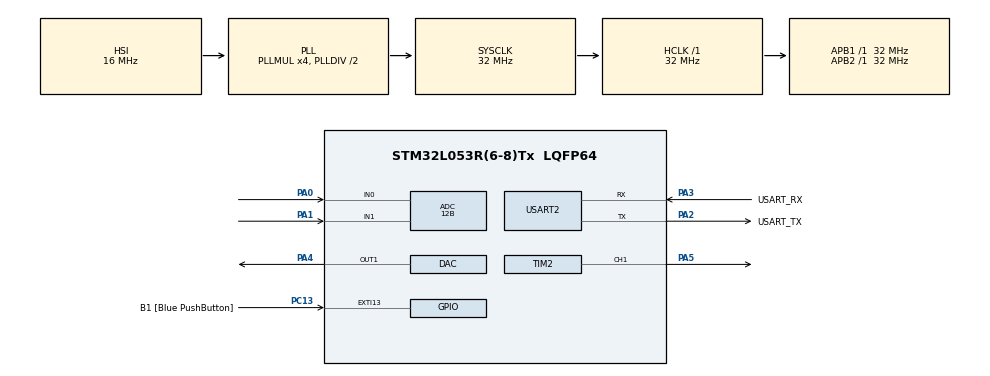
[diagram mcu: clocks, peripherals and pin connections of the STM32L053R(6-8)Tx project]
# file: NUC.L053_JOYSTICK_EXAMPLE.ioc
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ADC.ContinuousConvMode=ENABLE
ADC.Resolution=ADC_RESOLUTION_12B
ADC.SamplingTime=ADC_SAMPLETIME_160CYCLES_5
Dma.ADC.0.Direction=DMA_PERIPH_TO_MEMORY
Dma.ADC.0.Instance=DMA1_Channel1
Dma.ADC.0.MemDataAlignment=DMA_MDATAALIGN_WORD
Dma.ADC.0.MemInc=DMA_MINC_ENABLE
Dma.ADC.0.Mode=DMA_CIRCULAR
Dma.ADC.0.PeriphDataAlignment=DMA_PDATAALIGN_WORD
Dma.ADC.0.PeriphInc=DMA_PINC_DISABLE
Dma.ADC.0.Priority=DMA_PRIORITY_LOW
Dma.Request0=ADC
Mcu.Family=STM32L0
Mcu.Name=STM32L053R(6-8)Tx
Mcu.Package=LQFP64
NVIC.DMA1_Channel1_IRQn=true\:0\:0\:false\:false\:true\:false\:true\:true
NVIC.EXTI4_15_IRQn=true\:0\:0\:true\:false\:true\:true\:true\:true
NVIC.USART2_IRQn=true\:0\:0\:false\:false\:true\:true\:true\:true
PA0.Mode=IN0
PA0.Signal=ADC_IN0
PA1.Mode=IN1
PA1.Signal=ADC_IN1
PA13.GPIO_Label=TMS
PA13.Mode=Serial_Wire
PA13.Signal=SYS_SWDIO
PA14.GPIO_Label=TCK
PA14.Mode=Serial_Wire
PA14.Signal=SYS_SWCLK
PA2.GPIO_Label=USART_TX
PA2.Mode=Asynchronous
PA2.Signal=USART2_TX
PA3.GPIO_Label=USART_RX
PA3.Mode=Asynchronous
PA3.Signal=USART2_RX
PA4.Signal=COMP_DAC1_group
PA5.Signal=S_TIM2_CH1
PC13.GPIO_Label=B1 [Blue PushButton]
PC13.GPIO_ModeDefaultEXTI=GPIO_MODE_IT_FALLING
PC13.Signal=GPXTI13
PC14-OSC32_IN.Signal=RCC_OSC32_IN
PC15-OSC32_OUT.Signal=RCC_OSC32_OUT
PH0-OSC_IN.Signal=RCC_OSC_IN
PH1-OSC_OUT.Signal=RCC_OSC_OUT
ProjectManager.HeapSize=0x200
ProjectManager.StackSize=0x400
ProjectManager.TargetToolchain=STM32CubeIDE
RCC.AHBFreq_Value=32000000
RCC.APB1Freq_Value=32000000
RCC.APB1TimFreq_Value=32000000
RCC.APB2Freq_Value=32000000
RCC.APB2TimFreq_Value=32000000
RCC.HCLKFreq_Value=32000000
RCC.HSE_VALUE=8000000
RCC.HSI16_VALUE=16000000
RCC.HSI48_VALUE=48000000
RCC.HSI_VALUE=16000000
RCC.LSEState=RCC_LSE_ON
RCC.LSE_VALUE=32768
RCC.MSI_VALUE=2097000
RCC.PLLMUL=RCC_PLLMUL_4
RCC.SYSCLKFreq_VALUE=32000000
RCC.SYSCLKSource=RCC_SYSCLKSOURCE_PLLCLK
RCC.VCOOutputFreq_Value=64000000
SH.COMP_DAC1_group.0=DAC_OUT1,DAC_OUT1
SH.S_TIM2_CH1.0=TIM2_CH1,PWM Generation1 CH1
TIM2.AutoReloadPreload=TIM_AUTORELOAD_PRELOAD_ENABLE
TIM2.Channel-PWM\ Generation1\ CH1=TIM_CHANNEL_1
TIM2.OCMode_PWM-PWM\ Generation1\ CH1=TIM_OCMODE_PWM1
TIM2.Period=999
TIM2.Prescaler=999
TIM6.AutoReloadPreload=TIM_AUTORELOAD_PRELOAD_ENABLE
TIM6.Period=0xffff-1
TIM6.Prescaler=32-1
USART2.VirtualMode-Asynchronous=VM_ASYNC
VP_TIM6_VS_ClockSourceINT.Mode=Enable_Timer
board=NUCLEO-L053R8

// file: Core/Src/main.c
/* USER CODE BEGIN Header */
/**
  ******************************************************************************
  * @file           : main.c
  * @brief          : Main program body
  ******************************************************************************
  * @attention
  *
  * Copyright (c) 2023 STMicroelectronics.
  * All rights reserved.
  *
  * This software is licensed under terms that can be found in the LICENSE file
  * in the root directory of this software component.
  * If no LICENSE file comes with this software, it is provided AS-IS.
  *
  ******************************************************************************
  */
/* USER CODE END Header */
#include "main.h"
#include "adc.h"
#include "dac.h"
#include "dma.h"
#include "tim.h"
#include "usart.h"
#include "gpio.h"

/* USER CODE BEGIN Includes */
#include "string.h"
#include "stdio.h"

/* USER CODE END Includes */

/* USER CODE BEGIN PV */
uint32_t Jbuff[3];
uint32_t mappeddac;
char Sending_Buf[60];
volatile uint8_t buton=0;
/* USER CODE END PV */

void SystemClock_Config(void);

int main(void)
{

  /* MCU Configuration--------------------------------------------------------*/

  /* Reset of all peripherals, Initializes the Flash interface and the Systick. */
  HAL_Init();

  /* Configure the system clock */
  SystemClock_Config();

  /* Initialize all configured peripherals */
  MX_GPIO_Init();
  MX_DMA_Init();
  MX_ADC_Init();
  MX_USART2_UART_Init();
  MX_DAC_Init();
  MX_TIM2_Init();
  MX_TIM6_Init();
  /* USER CODE BEGIN 2 */
  HAL_TIM_PWM_Start(&htim2, TIM_CHANNEL_1);
  HAL_DAC_Start(&hdac, DAC_CHANNEL_1);
  HAL_TIM_Base_Start(&htim6);

  /* USER CODE END 2 */

  /* Infinite loop */
  /* USER CODE BEGIN WHILE */
  while (1)
  {
	  HAL_ADC_Start_DMA(&hadc, Jbuff, 2);
	  sprintf(Sending_Buf,"X degeri: %lu,Y degeri: %lu \n",Jbuff[0], Jbuff[1]);
	  HAL_UART_Transmit(&huart2, (uint8_t*)Sending_Buf, strlen(Sending_Buf), 1000);
	  memset(Sending_Buf, '\0', 60);
	  if(buton%2==0){
	  mappeddac=0;
	  mappeddac = (50 + (((Jbuff[0]) * (1150)) / (4096)));
	  __HAL_TIM_SET_COMPARE(&htim2, TIM_CHANNEL_1, mappeddac); // X ekseni degeri
	  mappeddac=0;
	  mappeddac = (2200 + (((Jbuff[1]) * (300)) / (4096)));
	  HAL_DAC_SetValue(&hdac, DAC_CHANNEL_1, DAC_ALIGN_12B_R, mappeddac);// Y ekseni değeri
	  HAL_Delay(50);
	  }

    /* USER CODE END WHILE */

  }
}

void SystemClock_Config(void)
{
  RCC_OscInitTypeDef RCC_OscInitStruct = {0};
  RCC_ClkInitTypeDef RCC_ClkInitStruct = {0};
  RCC_PeriphCLKInitTypeDef PeriphClkInit = {0};

  /** Configure the main internal regulator output voltage
  */
  __HAL_PWR_VOLTAGESCALING_CONFIG(PWR_REGULATOR_VOLTAGE_SCALE1);

  /** Initializes the RCC Oscillators according to the specified parameters
  * in the RCC_OscInitTypeDef structure.
  */
  RCC_OscInitStruct.OscillatorType = RCC_OSCILLATORTYPE_HSI;
  RCC_OscInitStruct.HSIState = RCC_HSI_ON;
  RCC_OscInitStruct.HSICalibrationValue = RCC_HSICALIBRATION_DEFAULT;
  RCC_OscInitStruct.PLL.PLLState = RCC_PLL_ON;
  RCC_OscInitStruct.PLL.PLLSource = RCC_PLLSOURCE_HSI;
  RCC_OscInitStruct.PLL.PLLMUL = RCC_PLLMUL_4;
  RCC_OscInitStruct.PLL.PLLDIV = RCC_PLLDIV_2;
  if (HAL_RCC_OscConfig(&RCC_OscInitStruct) != HAL_OK)
  {
    Error_Handler();
  }

  /** Initializes the CPU, AHB and APB buses clocks
  */
  RCC_ClkInitStruct.ClockType = RCC_CLOCKTYPE_HCLK|RCC_CLOCKTYPE_SYSCLK
                              |RCC_CLOCKTYPE_PCLK1|RCC_CLOCKTYPE_PCLK2;
  RCC_ClkInitStruct.SYSCLKSource = RCC_SYSCLKSOURCE_PLLCLK;
  RCC_ClkInitStruct.AHBCLKDivider = RCC_SYSCLK_DIV1;
  RCC_ClkInitStruct.APB1CLKDivider = RCC_HCLK_DIV1;
  RCC_ClkInitStruct.APB2CLKDivider = RCC_HCLK_DIV1;

  if (HAL_RCC_ClockConfig(&RCC_ClkInitStruct, FLASH_LATENCY_1) != HAL_OK)
  {
    Error_Handler();
  }
  PeriphClkInit.PeriphClockSelection = RCC_PERIPHCLK_USART2;
  PeriphClkInit.Usart2ClockSelection = RCC_USART2CLKSOURCE_PCLK1;
  if (HAL_RCCEx_PeriphCLKConfig(&PeriphClkInit) != HAL_OK)
  {
    Error_Handler();
  }
}

void Error_Handler(void)
{
  __disable_irq();
  while (1)
  {
  }
}
